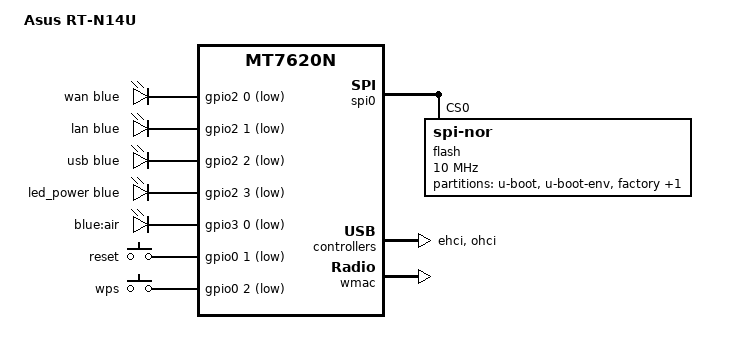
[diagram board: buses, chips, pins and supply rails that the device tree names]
#include "mt7620n.dtsi"

#include <dt-bindings/gpio/gpio.h>
#include <dt-bindings/input/input.h>
#include <dt-bindings/leds/common.h>

/ {
	compatible = "asus,rt-n14u", "ralink,mt7620n-soc";
	model = "Asus RT-N14U";

	aliases {
		led-boot = &led_power;
		led-failsafe = &led_power;
		led-running = &led_power;
		led-upgrade = &led_power;
	};

	leds {
		compatible = "gpio-leds";

		wan {
			function = LED_FUNCTION_WAN;
			color = <LED_COLOR_ID_BLUE>;
			gpios = <&gpio2 0 GPIO_ACTIVE_LOW>;
		};

		lan {
			function = LED_FUNCTION_LAN;
			color = <LED_COLOR_ID_BLUE>;
			gpios = <&gpio2 1 GPIO_ACTIVE_LOW>;
		};

		usb {
			function = LED_FUNCTION_USB;
			color = <LED_COLOR_ID_BLUE>;
			gpios = <&gpio2 2 GPIO_ACTIVE_LOW>;
			trigger-sources = <&ohci_port1>, <&ehci_port1>;
			linux,default-trigger = "usbport";
		};

		led_power: power {
			function = LED_FUNCTION_POWER;
			color = <LED_COLOR_ID_BLUE>;
			gpios = <&gpio2 3 GPIO_ACTIVE_LOW>;
		};

		air {
			label = "blue:air";
			gpios = <&gpio3 0 GPIO_ACTIVE_LOW>;
		};
	};

	keys {
		compatible = "gpio-keys";

		reset {
			label = "reset";
			gpios = <&gpio0 1 GPIO_ACTIVE_LOW>;
			linux,code = <KEY_RESTART>;
		};

		wps {
			label = "wps";
			gpios = <&gpio0 2 GPIO_ACTIVE_LOW>;
			linux,code = <KEY_WPS_BUTTON>;
		};
	};
};

&gpio2 {
	status = "okay";
};

&gpio3 {
	status = "okay";
};

&spi0 {
	status = "okay";

	flash@0 {
		compatible = "jedec,spi-nor";
		reg = <0>;
		spi-max-frequency = <10000000>;

		partitions {
			compatible = "fixed-partitions";
			#address-cells = <1>;
			#size-cells = <1>;

			partition@0 {
				label = "u-boot";
				reg = <0x0 0x30000>;
				read-only;
			};

			partition@30000 {
				label = "u-boot-env";
				reg = <0x30000 0x10000>;
				read-only;
			};

			partition@40000 {
				label = "factory";
				reg = <0x40000 0x10000>;
				read-only;

				nvmem-layout {
					compatible = "fixed-layout";
					#address-cells = <1>;
					#size-cells = <1>;

					eeprom_factory_0: eeprom@0 {
						reg = <0x0 0x200>;
					};

					macaddr_factory_4: macaddr@4 {
						reg = <0x4 0x6>;
					};
				};
			};

			partition@50000 {
				compatible = "denx,uimage";
				label = "firmware";
				reg = <0x50000 0xfb0000>;
			};
		};
	};
};

&ehci {
	status = "okay";
};

&ohci {
	status = "okay";
};

&ethernet {
	nvmem-cells = <&macaddr_factory_4>;
	nvmem-cell-names = "mac-address";

	mediatek,portmap = "wllll";
};

&wmac {
	nvmem-cells = <&eeprom_factory_0>;
	nvmem-cell-names = "eeprom";
};

&state_default {
	default {
		groups = "ephy", "wled", "i2c";
		function = "gpio";
	};
};
